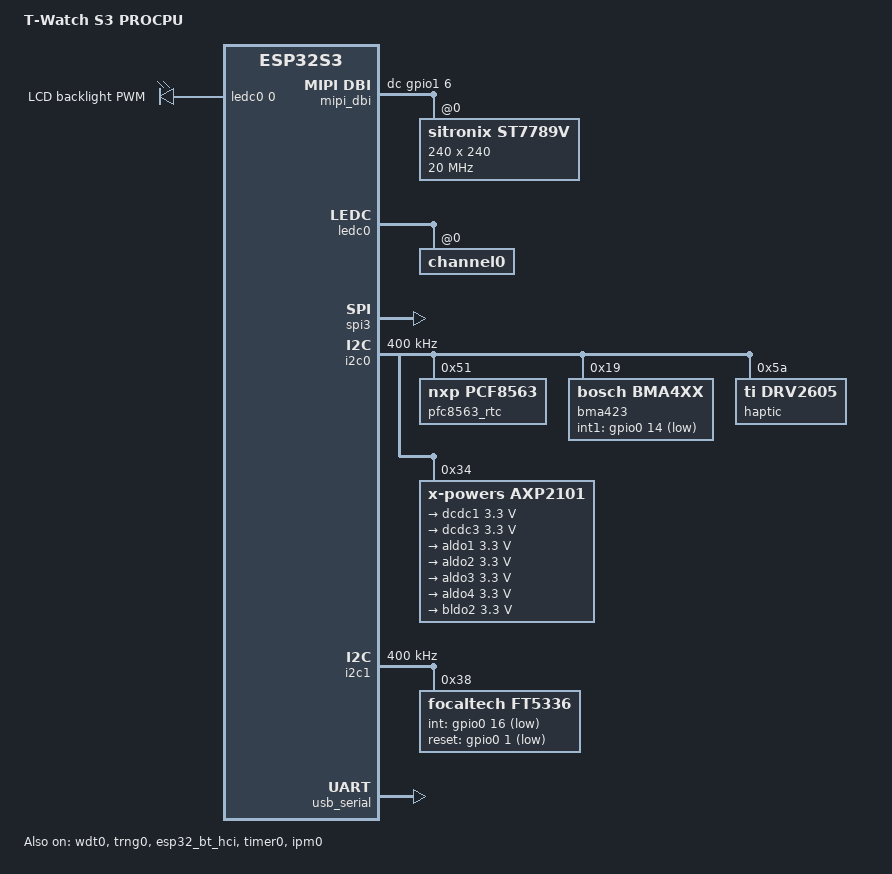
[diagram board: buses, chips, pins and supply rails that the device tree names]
/*
 * Copyright (c) 2025 BayLibre SAS
 *
 * SPDX-License-Identifier: Apache-2.0
 */
/dts-v1/;

#include <espressif/esp32s3/esp32s3_r8.dtsi>
#include "twatch_s3-pinctrl.dtsi"
#include <espressif/partitions_0x0_amp_16M.dtsi>
#include <zephyr/dt-bindings/pwm/pwm.h>

/ {
	model = "T-Watch S3 PROCPU";
	compatible = "espressif,esp32s3";

	aliases {
		i2c-0 = &i2c0;
		i2c-1 = &i2c1;
		watchdog0 = &wdt0;
		rtc = &pfc8563_rtc;
		pwm-led0 = &backlight_pwm;
		fuel-gauge0 = &fuel_gauge;
	};

	chosen {
		zephyr,sram = &sram0;
		zephyr,console = &usb_serial;
		zephyr,shell-uart = &usb_serial;
		zephyr,flash = &flash0;
		zephyr,code-partition = &slot0_partition;
		zephyr,bt-hci = &esp32_bt_hci;
		zephyr,display = &st7789v;
		zephyr,touch = &ft5336;
		zephyr,ipc_shm = &shm0;
		zephyr,ipc = &ipm0;
	};

	mipi_dbi {
		compatible = "zephyr,mipi-dbi-spi";
		dc-gpios = <&gpio1 6 GPIO_ACTIVE_HIGH>;
		spi-dev = <&spi3>;
		write-only;
		#address-cells = <1>;
		#size-cells = <0>;

		st7789v: st7789v@0 {
			compatible = "sitronix,st7789v";
			mipi-max-frequency = <20000000>;
			mipi-mode = "MIPI_DBI_MODE_SPI_4WIRE";
			reg = <0>;
			width = <240>;
			height = <240>;
			x-offset = <0>;
			y-offset = <80>;
			mdac = <0xc8>;
			ram-param = [00 e0];
			colmod = <0x55>;
			porch-param = [0c 0c 00 33 33];
			gctrl = <0x35>;
			vcom = <0x28>;
			lcm = <0x0c>;
			vrhs = <0x10>;
			vdvs = <0x20>;
			pwctrl1-param = [a4 a1];
			pvgam-param = [d0 00 02 07 0a 28 32 44 42 06 0e 12 14 17];
			nvgam-param = [d0 00 02 07 0a 28 31 54 47 0e 1c 17 1b 1e];
			/* Values below are not set by the eTFT_SPI driver from
			 * LilyGO. Therefore let's keep ST7789V values.
			 */
			gamma = <0x01>;
			cmd2en-param = [5a 69 02 00];
			rgb-param = [40 02 14];
		};
	};

	pwmleds {
		compatible = "pwm-leds";

		backlight_pwm: pwm_0 {
			label = "LCD backlight PWM";
			pwms = <&ledc0 0 PWM_HZ(100) PWM_POLARITY_NORMAL>;
		};
	};

	lvgl_pointer {
		compatible = "zephyr,lvgl-pointer-input";
		input = <&ft5336>;
		swap-xy;
	};
};

&ledc0 {
	#address-cells = <1>;
	#size-cells = <0>;
	status = "okay";
	pinctrl-0 = <&ledc0_default>;
	pinctrl-names = "default";

	channel0@0 {
		reg = <0x0>;
		timer = <0>;
	};
};

&spi3 {
	#address-cells = <1>;
	#size-cells = <0>;
	status = "okay";
	pinctrl-0 = <&spim3_default>;
	pinctrl-names = "default";
};

&i2c0 {
	clock-frequency = <I2C_BITRATE_FAST>;
	pinctrl-0 = <&i2c0_default>;
	pinctrl-names = "default";
	status = "okay";

	pfc8563_rtc: pfc8563@51 {
		compatible = "nxp,pcf8563";
		reg = <0x51>;
		status = "okay";
	};

	bma423: bma423@19 {
		compatible = "bosch,bma4xx";
		reg = <0x19>;
		status = "okay";
		int1-gpios = <&gpio0 14 GPIO_ACTIVE_LOW>;
	};

	haptic: drv2605@5a {
		compatible = "ti,drv2605";
		reg = <0x5a>;
		status = "okay";
		actuator-mode = "ERM";
	};

	axp2101@34 {
		compatible = "x-powers,axp2101";
		reg = <0x34>;

		charger {
			compatible = "x-powers,axp2101-charger";
			constant-charge-current-max-microamp = <300000>;
			constant-charge-voltage-max-microvolt = <4200000>;
			charge-term-current-microamp = <100000>;
			vbackup-enable;
		};

		regulators {
			compatible = "x-powers,axp2101-regulator";

			dcdc1 {
				regulator-min-microvolt = <3300000>;
				regulator-init-microvolt = <3300000>;
				regulator-max-microvolt = <3300000>;
				regulator-boot-on;
			};

			dcdc2 {
				regulator-boot-off;
			};

			dcdc3 {
				regulator-min-microvolt = <3300000>;
				regulator-init-microvolt = <3300000>;
				regulator-max-microvolt = <3300000>;
				regulator-boot-on;
			};

			dcdc4 {
				regulator-boot-off;
			};

			dcdc5 {
				regulator-boot-off;
			};

			aldo1 {
				regulator-min-microvolt = <3300000>;
				regulator-init-microvolt = <3300000>;
				regulator-max-microvolt = <3300000>;
				regulator-boot-on;
			};

			aldo2 {
				regulator-min-microvolt = <3300000>;
				regulator-init-microvolt = <3300000>;
				regulator-max-microvolt = <3300000>;
				regulator-boot-on;
			};

			aldo3 {
				regulator-min-microvolt = <3300000>;
				regulator-init-microvolt = <3300000>;
				regulator-max-microvolt = <3300000>;
				regulator-boot-on;
			};

			aldo4 {
				regulator-min-microvolt = <3300000>;
				regulator-init-microvolt = <3300000>;
				regulator-max-microvolt = <3300000>;
				regulator-boot-on;
			};

			bldo1 {
				regulator-boot-off;
			};

			bldo2 {
				regulator-min-microvolt = <3300000>;
				regulator-init-microvolt = <3300000>;
				regulator-max-microvolt = <3300000>;
				regulator-boot-on;
			};

			cplusldo {
				regulator-boot-off;
			};

			dldo1 {
				regulator-boot-off;
			};

			dldo2 {
				regulator-boot-off;
			};
		};

		fuel_gauge: fuel_gauge {
			compatible = "x-powers,axp2101-fuel-gauge";
		};
	};
};

&i2c1 {
	clock-frequency = <I2C_BITRATE_FAST>;
	pinctrl-0 = <&i2c1_default>;
	pinctrl-names = "default";
	status = "okay";

	ft5336: ft5336@38 {
		compatible = "focaltech,ft5336";
		reg = <0x38>;
		int-gpios = <&gpio0 16 (GPIO_ACTIVE_LOW | GPIO_PULL_UP)>;
		reset-gpios = <&gpio0 1 GPIO_ACTIVE_LOW>;
	};
};

&usb_serial {
	status = "okay";
};

&wdt0 {
	status = "okay";
};

&trng0 {
	status = "okay";
};

&gpio0 {
	status = "okay";
};

&gpio1 {
	status = "okay";
};

&esp32_bt_hci {
	status = "okay";
};

&flash0 {
	reg = <0x0 DT_SIZE_M(16)>;
};

&timer0 {
	status = "okay";
};

&ipm0 {
	status = "okay";
};
